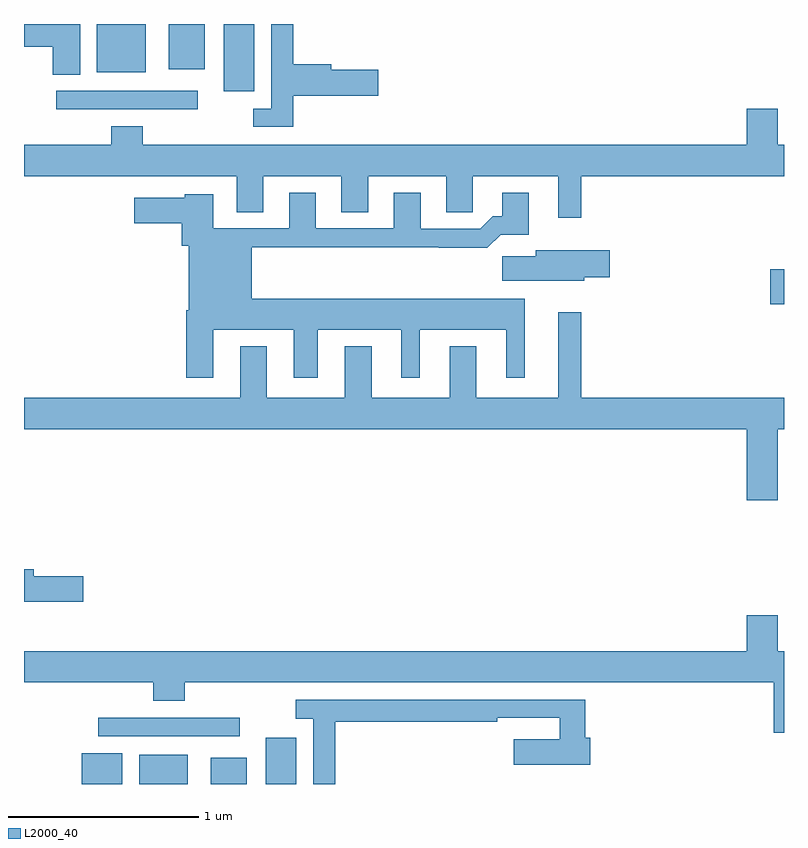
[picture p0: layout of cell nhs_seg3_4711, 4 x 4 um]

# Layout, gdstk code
import gdstk
lib = gdstk.Library(unit=1e-6, precision=1e-09)
def R(c, l, rs):  # rectangles x0, y0, x1, y1
    for r in rs: c.add(gdstk.rectangle(r[:2], r[2:], *l))
def P(c, l, *ps):  # polygons
    for p in ps: c.add(gdstk.Polygon(p, *l))
L2000_40 = (2000, 40)

nhs_seg3_4711 = lib.new_cell('nhs_seg3_4711')
R(nhs_seg3_4711, L2000_40, [(365.303,680.4,365.518,680.563), (365.606,680.4,365.863,680.554), (365.984,680.4,366.172,680.539), (366.272,680.4,366.433,680.644), (365.391,680.652,366.136,680.748), (368.928,682.925,369,683.108), (365.169,683.952,365.914,684.048), (366.05,684.047,366.211,684.4), (365.384,684.146,365.641,684.4), (365.762,684.161,365.95,684.4)])
P(nhs_seg3_4711, L2000_40, [(366.416,684.023),(366.865,684.023),(366.865,684.158),(366.616,684.158),(366.616,684.187),(366.416,684.187),(366.416,684.4),(366.3,684.4),(366.3,683.955),(366.207,683.955),(366.207,683.859),(366.416,683.859)],
  [(365.296,684.4),(365,684.4),(365,684.28),(365.15,684.28),(365.15,684.133),(365.296,684.133)],
  [(367.933,683.6),(369,683.6),(369,683.764),(368.968,683.764),(368.968,683.953),(368.804,683.953),(368.804,683.764),(365.624,683.764),(365.624,683.863),(365.459,683.863),(365.459,683.764),(365,683.764),(365,683.6),(366.119,683.6),(366.119,683.41),(366.259,683.41),(366.259,683.6),(366.671,683.6),(366.671,683.41),(366.811,683.41),(366.811,683.6),(367.223,683.6),(367.223,683.41),(367.362,683.41),(367.362,683.6),(367.811,683.6),(367.811,683.379),(367.933,683.379)],
  [(365.995,682.79),(366.419,682.79),(366.419,682.539),(366.547,682.539),(366.547,682.79),(366.986,682.79),(366.986,682.539),(367.084,682.539),(367.084,682.79),(367.538,682.79),(367.538,682.539),(367.636,682.539),(367.636,682.954),(366.199,682.954),(366.199,683.224),(367.183,683.224),(367.183,683.222),(367.439,683.222),(367.508,683.291),(367.657,683.291),(367.657,683.512),(367.517,683.512),(367.517,683.389),(367.468,683.389),(367.401,683.322),(367.087,683.322),(367.087,683.512),(366.947,683.512),(366.947,683.325),(366.535,683.325),(366.535,683.512),(366.395,683.512),(366.395,683.325),(365.995,683.325),(365.995,683.503),(365.847,683.503),(365.847,683.485),(365.58,683.485),(365.58,683.351),(365.831,683.351),(365.831,683.232),(365.867,683.232),(365.867,682.894),(365.855,682.894),(365.855,682.539),(365.995,682.539)],
  [(367.948,683.066),(368.083,683.066),(368.083,683.209),(367.694,683.209),(367.694,683.177),(367.518,683.177),(367.518,683.048),(367.948,683.048)],
  [(368.968,682.268),(369,682.268),(369,682.432),(367.933,682.432),(367.933,682.882),(367.811,682.882),(367.811,682.432),(367.381,682.432),(367.381,682.705),(367.241,682.705),(367.241,682.432),(366.829,682.432),(366.829,682.705),(366.689,682.705),(366.689,682.432),(366.277,682.432),(366.277,682.705),(366.137,682.705),(366.137,682.432),(365,682.432),(365,682.268),(368.804,682.268),(368.804,681.894),(368.968,681.894)],
  [(365.311,681.494),(365.05,681.494),(365.05,681.53),(365,681.53),(365,681.359),(365.311,681.359)],
  [(369,681.1),(368.968,681.1),(368.968,681.289),(368.804,681.289),(368.804,681.1),(365,681.1),(365,680.936),(365.681,680.936),(365.681,680.837),(365.846,680.837),(365.846,680.936),(368.945,680.936),(368.945,680.67),(369,680.67)],
  [(366.638,680.728),(367.49,680.728),(367.49,680.748),(367.819,680.748),(367.819,680.635),(367.578,680.635),(367.578,680.501),(367.979,680.501),(367.979,680.643),(367.955,680.643),(367.955,680.844),(366.429,680.844),(366.429,680.744),(366.522,680.744),(366.522,680.4),(366.638,680.4)])

lib.write_gds('nhs_seg3_4711.gds')
